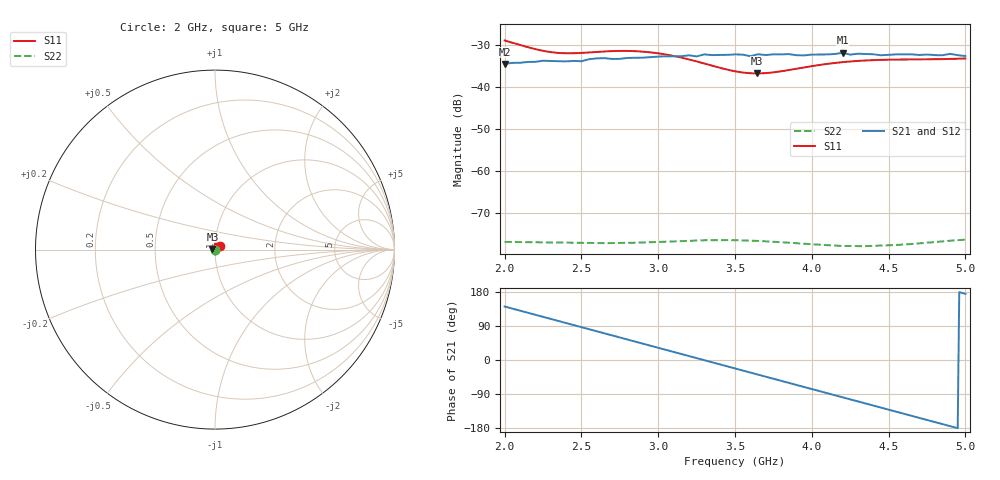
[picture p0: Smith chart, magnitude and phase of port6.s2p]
!Created with skrf (http://scikit-rf.org).
# MHz S RI R 50.0
!freq ReS11 ImS11 ReS21 ImS21 ReS12 ImS12 ReS22 ImS22
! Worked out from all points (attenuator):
!   301 points, 2 GHz to 5 GHz, reference 50 ohm
!   highest |S21| = -31.81 dB at 4.2 GHz (marker M1); lowest = -34.4 dB at 2 GHz (marker M2)
!   lowest |S11| = -36.7 dB at 3.64 GHz (marker M3), VSWR 1.03, Z = 48.6 + j0.144 ohm
!   |S11| at or under -10 dB: start of sweep to end of sweep
!   |S22| runs from -78.0 to -76.4 dB; largest |S21 - S12| = 0
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2000  0.0287 0.0218  -0.0148 0.0119  -0.0148 0.0119  0.000102 9.87e-05
2280  0.0264 -0.00291  -0.00724 0.0192  -0.00724 0.0192  0.000101 9.68e-05
2380  0.0231 -0.0106  -0.00342 0.02  -0.00342 0.02  9.96e-05 9.67e-05
2500  0.0182 -0.018  0.0012 0.0203  0.0012 0.0203  9.83e-05 9.7e-05
2600  0.0135 -0.0226  0.00543 0.0213  0.00543 0.0213  9.68e-05 9.73e-05
2780  0.0048 -0.0266  0.0123 0.0183  0.0123 0.0183  9.54e-05 9.99e-05
3000  -0.0046 -0.0249  0.0196 0.0123  0.0196 0.0123  9.63e-05 0.000104
3170  -0.00998 -0.0197  0.023 0.00557  0.023 0.00557  9.99e-05 0.000106
3250  -0.0118 -0.0165  0.0232 0.002  0.0232 0.002  0.000102 0.000106
3300  -0.0127 -0.0143  0.0246 -0.000216  0.0246 -0.000216  0.000104 0.000107
3500  -0.0146 -0.00497  0.0228 -0.00932  0.0228 -0.00932  0.000109 0.000102
3600  -0.0147 -0.00032  0.0196 -0.0128  0.0196 -0.0128  0.000109 9.88e-05
3640  -0.0145 0.00148  0.0194 -0.0149  0.0194 -0.0149  0.000109 9.72e-05
3770  -0.0135 0.00696  0.0153 -0.0193  0.0153 -0.0193  0.000108 9.25e-05
4000  -0.0101 0.0147  0.00564 -0.0238  0.00564 -0.0238  0.0001 8.77e-05
4200  -0.00595 0.019  -0.00376 -0.0254  -0.00376 -0.0254  9.16e-05 8.75e-05
4250  -0.00482 0.0197  -0.00585 -0.0237  -0.00585 -0.0237  9.05e-05 8.97e-05
4300  -0.00365 0.0202  -0.00827 -0.0236  -0.00827 -0.0236  8.83e-05 9.05e-05
4500  0.00119 0.0212  -0.0159 -0.0183  -0.0159 -0.0183  8.44e-05 9.83e-05
4850  0.00991 0.0192  -0.0236 -0.00454  -0.0236 -0.00454  8.79e-05 0.000114
4900  0.0111 0.0186  -0.0248 -0.00238  -0.0248 -0.00238  8.88e-05 0.000117
5000  0.0135 0.0173  -0.0234 0.00221  -0.0234 0.00221  9.43e-05 0.000118
